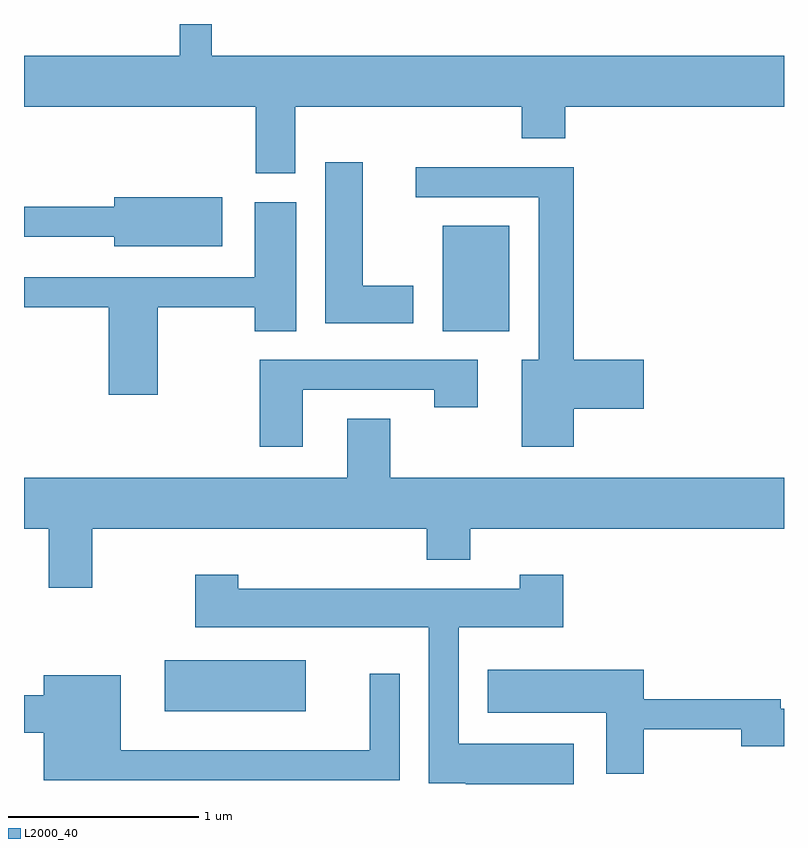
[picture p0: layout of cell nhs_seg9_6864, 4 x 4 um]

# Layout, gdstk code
import gdstk
lib = gdstk.Library(unit=1e-6, precision=1e-09)
def R(c, l, rs):  # rectangles x0, y0, x1, y1
    for r in rs: c.add(gdstk.rectangle(r[:2], r[2:], *l))
def P(c, l, *ps):  # polygons
    for p in ps: c.add(gdstk.Polygon(p, *l))
L2000_40 = (2000, 40)

nhs_seg9_6864 = lib.new_cell('nhs_seg9_6864')
R(nhs_seg9_6864, L2000_40, [(388.351,2030.816,389.094,2031.084), (389.816,2032.816,390.164,2033.369)])
P(nhs_seg9_6864, L2000_40, [(389.039,2033.996),(390.231,2033.996),(390.231,2033.831),(390.459,2033.831),(390.459,2033.996),(391.611,2033.996),(391.611,2034.264),(388.599,2034.264),(388.599,2034.432),(388.431,2034.432),(388.431,2034.264),(387.611,2034.264),(387.611,2033.996),(388.831,2033.996),(388.831,2033.646),(389.039,2033.646)],
  [(389.659,2033.054),(389.394,2033.054),(389.394,2033.704),(389.196,2033.704),(389.196,2032.856),(389.659,2032.856)],
  [(390.504,2032.406),(390.874,2032.406),(390.874,2032.664),(390.504,2032.664),(390.504,2033.679),(389.673,2033.679),(389.673,2033.521),(390.321,2033.521),(390.321,2032.664),(390.231,2032.664),(390.231,2032.206),(390.504,2032.206)],
  [(388.654,2033.519),(388.086,2033.519),(388.086,2033.469),(387.611,2033.469),(387.611,2033.311),(388.086,2033.311),(388.086,2033.261),(388.654,2033.261)],
  [(388.314,2032.941),(388.826,2032.941),(388.826,2032.816),(389.044,2032.816),(389.044,2033.494),(388.826,2033.494),(388.826,2033.099),(387.611,2033.099),(387.611,2032.941),(388.056,2032.941),(388.056,2032.481),(388.314,2032.481)],
  [(389.079,2032.506),(389.771,2032.506),(389.771,2032.416),(389.999,2032.416),(389.999,2032.664),(388.851,2032.664),(388.851,2032.206),(389.079,2032.206)],
  [(387.969,2031.776),(389.731,2031.776),(389.731,2031.611),(389.959,2031.611),(389.959,2031.776),(391.611,2031.776),(391.611,2032.044),(389.539,2032.044),(389.539,2032.354),(389.311,2032.354),(389.311,2032.044),(387.611,2032.044),(387.611,2031.776),(387.741,2031.776),(387.741,2031.466),(387.969,2031.466)],
  [(390.504,2030.644),(389.899,2030.644),(389.899,2031.256),(390.449,2031.256),(390.449,2031.534),(390.221,2031.534),(390.221,2031.459),(388.739,2031.459),(388.739,2031.534),(388.511,2031.534),(388.511,2031.256),(389.741,2031.256),(389.741,2030.436),(389.936,2030.436),(389.936,2030.432),(390.504,2030.432)],
  [(390.874,2030.721),(391.386,2030.721),(391.386,2030.631),(391.611,2030.631),(391.611,2030.829),(391.594,2030.829),(391.594,2030.879),(390.874,2030.879),(390.874,2031.034),(390.051,2031.034),(390.051,2030.806),(390.676,2030.806),(390.676,2030.486),(390.874,2030.486)],
  [(389.589,2031.013),(389.431,2031.013),(389.431,2030.609),(388.119,2030.609),(388.119,2031.004),(387.716,2031.004),(387.716,2030.899),(387.611,2030.899),(387.611,2030.701),(387.716,2030.701),(387.716,2030.451),(389.589,2030.451)])

lib.write_gds('nhs_seg9_6864.gds')
